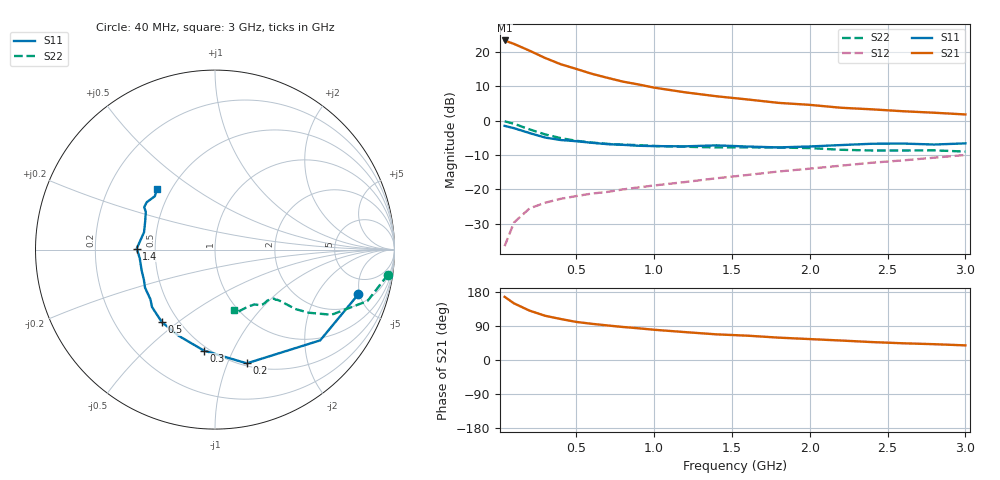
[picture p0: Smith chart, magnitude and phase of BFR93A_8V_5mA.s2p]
! Filename:  BFR93AE.S2P  Version:  2.0
! Philips part #: BFR93A  Date: May 1990
! Bias condition: Vce=8V, Ic=5mA
#  MHz  S  MA  R  50
! Freq  S11  S21  S12  S22  !GUM [dB]
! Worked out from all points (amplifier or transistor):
!   21 points, 40 MHz to 3 GHz, reference 50 ohm
!   highest |S21| = 23.2 dB at 40 MHz (marker M1)
!   |S21| within 3 dB of that: start of sweep to 201.7 MHz
!   unconditionally stable (mu >= 1): 1.095 GHz to 2.356 GHz
!   at 300 MHz: K = 0.48, MSG = 21.0 dB, |S12| = -23.9 dB
!   at 1 GHz: K = 0.98, MSG = 14.2 dB, |S12| = -18.9 dB
!   at 3 GHz: K = 0.96, MSG = 5.9 dB, |S12| = -10.0 dB
!   S11 on the Smith chart (normalised r, x): 40 MHz: 2.91, -4.84; 200 MHz: 0.53, -1.17; 300 MHz: 0.47, -0.78; 500 MHz: 0.41, -0.44; 1.4 GHz: 0.39, +0.01; 3 GHz: 0.42, +0.36
40  0.836 -17.4  14.52 166.8  0.015 80.3  0.974 -8.2
100  0.774 -40.8  12.94 149.5  0.033 69.0  0.897 -18.6
200  0.658 -74.4  10.32 130.3  0.053 58.2  0.744 -29.2
300  0.566 -96.3  8.091 116.7  0.064 52.8  0.629 -34.0
400  0.521 -113.0  6.567 108.2  0.073 50.6  0.556 -36.5
500  0.501 -126.2  5.611 100.5  0.08 51.2  0.508 -37.3
600  0.475 -137.6  4.769 95.5  0.087 52.4  0.479 -37.9
700  0.454 -142.4  4.169 91.2  0.092 53.8  0.458 -38.4
800  0.444 -151.4  3.669 87.1  0.1 56.2  0.447 -38.8
900  0.43 -157.2  3.337 83.7  0.107 57.8  0.439 -39.5
1000  0.425 -164.0  3.003 79.8  0.114 58.9  0.427 -39.8
1200  0.422 -173.4  2.565 73.6  0.128 61.8  0.416 -41.5
1400  0.436 179.2  2.25 67.7  0.145 63.8  0.407 -44.3
1600  0.419 173.0  2.022 64.2  0.162 66.4  0.407 -46.5
1800  0.407 166.3  1.803 59.0  0.182 67.1  0.405 -48.8
2000  0.42 157.8  1.688 55.2  0.2 68.0  0.398 -51.0
2200  0.44 151.2  1.532 51.4  0.221 69.1  0.376 -54.4
2400  0.46 149.1  1.453 47.3  0.244 68.8  0.367 -60.2
2600  0.463 145.2  1.363 44.1  0.264 68.2  0.367 -65.6
2800  0.448 138.4  1.297 41.7  0.289 68.0  0.369 -69.2
3000  0.466 134.0  1.225 38.6  0.316 67.2  0.354 -72.7
